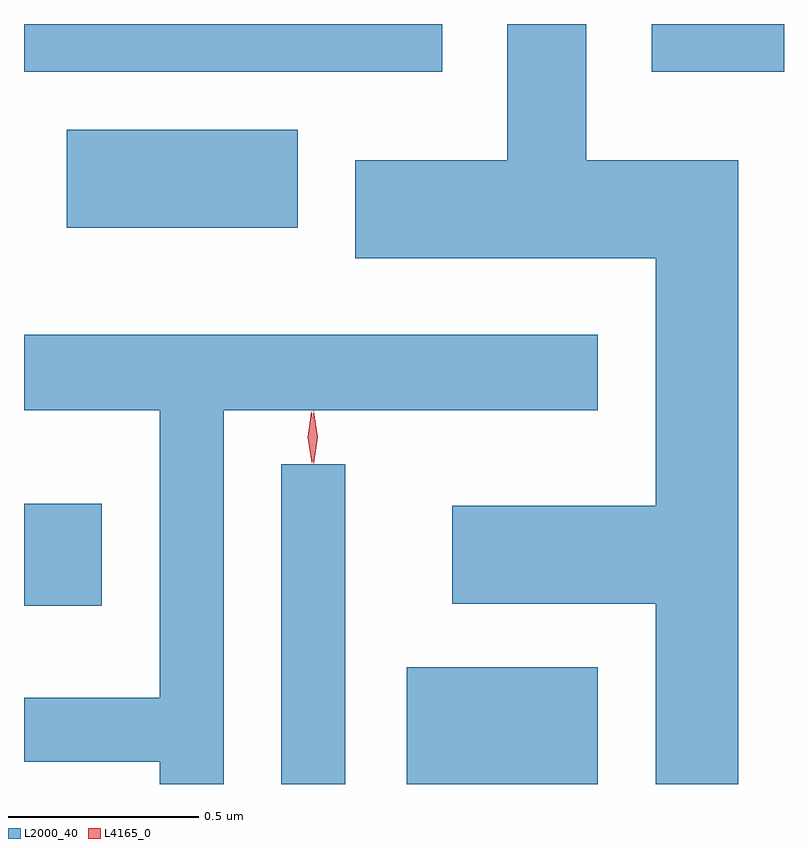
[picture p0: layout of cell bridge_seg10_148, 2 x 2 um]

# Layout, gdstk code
import gdstk
lib = gdstk.Library(unit=1e-6, precision=1e-09)
def R(c, l, rs):  # rectangles x0, y0, x1, y1
    for r in rs: c.add(gdstk.rectangle(r[:2], r[2:], *l))
def P(c, l, *ps):  # polygons
    for p in ps: c.add(gdstk.Polygon(p, *l))
L2000_40 = (2000, 40)
L4165_0 = (4165, 0)

bridge_seg10_148 = lib.new_cell('bridge_seg10_148')
R(bridge_seg10_148, L2000_40, [(1696.521,2141.332,1696.689,2142.173), (1696.851,2141.332,1697.354,2141.639), (1695.844,2141.801,1696.049,2142.069), (1695.956,2142.796,1696.564,2143.054), (1695.844,2143.206,1696.944,2143.332), (1697.496,2143.206,1697.844,2143.332)])
P(bridge_seg10_148, L2000_40, [(1697.724,2142.974),(1697.324,2142.974),(1697.324,2143.332),(1697.116,2143.332),(1697.116,2142.974),(1696.716,2142.974),(1696.716,2142.716),(1697.506,2142.716),(1697.506,2142.064),(1696.971,2142.064),(1696.971,2141.806),(1697.506,2141.806),(1697.506,2141.332),(1697.724,2141.332)],
  [(1696.369,2142.316),(1697.354,2142.316),(1697.354,2142.514),(1695.844,2142.514),(1695.844,2142.316),(1696.201,2142.316),(1696.201,2141.559),(1695.844,2141.559),(1695.844,2141.391),(1696.201,2141.391),(1696.201,2141.332),(1696.369,2141.332)])
P(bridge_seg10_148, L4165_0, [(1696.607,2142.174),(1696.606,2142.175),(1696.597,2142.244),(1696.606,2142.313),(1696.607,2142.314),(1696.607,2142.313),(1696.617,2142.244),(1696.607,2142.175)],
  [(1696.601,2142.178),(1696.601,2142.178),(1696.591,2142.244),(1696.6,2142.31),(1696.601,2142.311),(1696.601,2142.31),(1696.611,2142.244),(1696.602,2142.178)])

lib.write_gds('bridge_seg10_148.gds')
